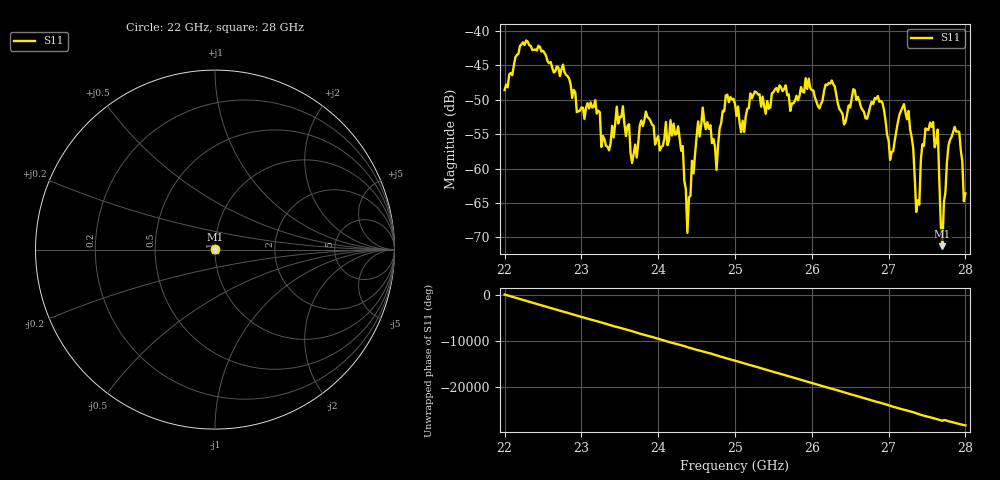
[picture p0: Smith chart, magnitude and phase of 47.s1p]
#  HZ  S  RI  R  50.00
! Rohde & Schwarz ZVA40 4Ports - Version 3.90 - 1145.1110k42 SN: 100403
! Date: 2023-10-04 10:42:06
! Measurement: S12
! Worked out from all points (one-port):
!   301 points, 22 GHz to 28 GHz, reference 50 ohm
!   lowest |S11| = -71.3 dB at 27.7 GHz (marker M1), VSWR 1.00, Z = 50 - j0.0267 ohm
!   |S11| at or under -10 dB: start of sweep to end of sweep
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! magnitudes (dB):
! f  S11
! 22 GHz  -48.6
! 22.28 GHz  -41.4
! 22.76 GHz  -44.9
! 23.18 GHz  -50.1
! 23.26 GHz  -56.9
! 23.5 GHz  -52.5
! 23.66 GHz  -59.2
! 23.84 GHz  -51.7
! 24.26 GHz  -53.9
! 24.32 GHz  -56.7
! 24.38 GHz  -69.4
! 24.44 GHz  -58.9
! 24.58 GHz  -51.1
! 24.76 GHz  -60.2
! 24.88 GHz  -49.4
! 25 GHz  -50.6
! 25.76 GHz  -50.5
! 26.5 GHz  -51.1
! 26.86 GHz  -49.4
! 27.02 GHz  -58.7
! 27.26 GHz  -51.6
! 27.36 GHz  -66.3
! 27.48 GHz  -54.2
! 27.64 GHz  -54.3
! 27.7 GHz  -71.3
! 27.78 GHz  -56.7
! 27.86 GHz  -53.9
! 28 GHz  -63.6
